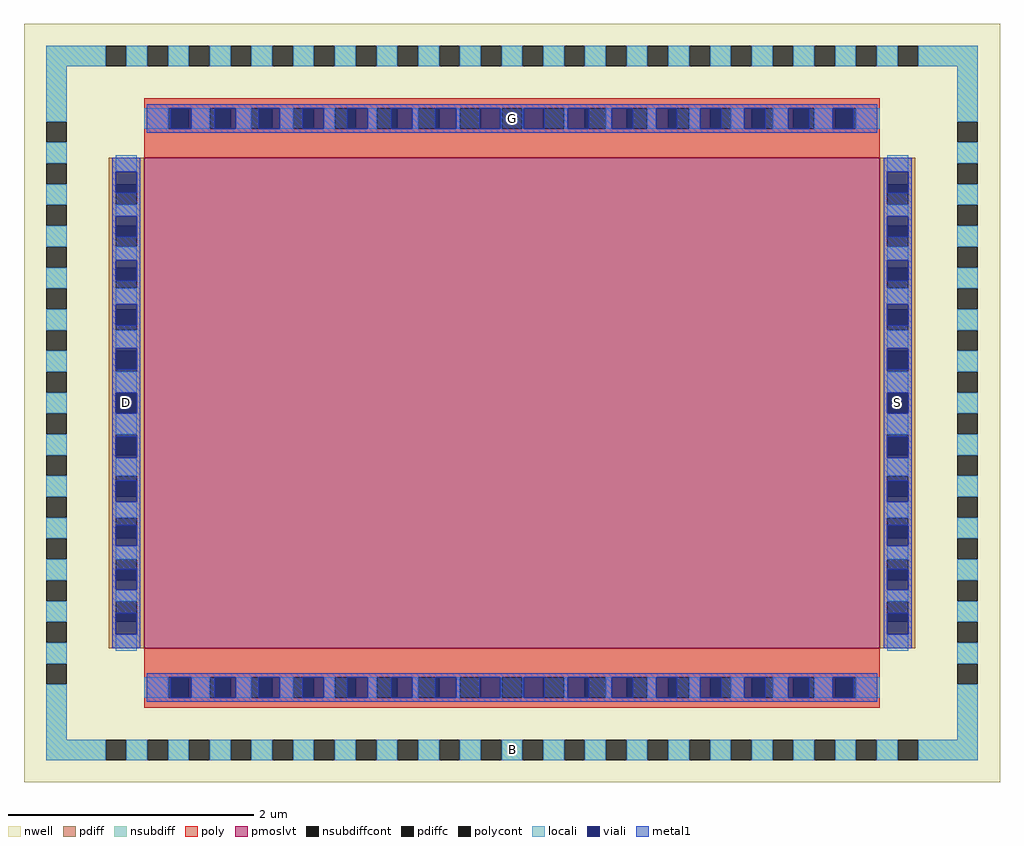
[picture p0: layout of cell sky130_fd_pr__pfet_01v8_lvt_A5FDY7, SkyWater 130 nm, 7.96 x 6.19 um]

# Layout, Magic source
magic
tech sky130A
magscale 1 2
<< nwell >>
rect -796 -619 796 619
<< pmoslvt >>
rect -600 -400 600 400
<< pdiff >>
rect -658 357 -600 400
rect -658 323 -646 357
rect -612 323 -600 357
rect -658 289 -600 323
rect -658 255 -646 289
rect -612 255 -600 289
rect -658 221 -600 255
rect -658 187 -646 221
rect -612 187 -600 221
rect -658 153 -600 187
rect -658 119 -646 153
rect -612 119 -600 153
rect -658 85 -600 119
rect -658 51 -646 85
rect -612 51 -600 85
rect -658 17 -600 51
rect -658 -17 -646 17
rect -612 -17 -600 17
rect -658 -51 -600 -17
rect -658 -85 -646 -51
rect -612 -85 -600 -51
rect -658 -119 -600 -85
rect -658 -153 -646 -119
rect -612 -153 -600 -119
rect -658 -187 -600 -153
rect -658 -221 -646 -187
rect -612 -221 -600 -187
rect -658 -255 -600 -221
rect -658 -289 -646 -255
rect -612 -289 -600 -255
rect -658 -323 -600 -289
rect -658 -357 -646 -323
rect -612 -357 -600 -323
rect -658 -400 -600 -357
rect 600 357 658 400
rect 600 323 612 357
rect 646 323 658 357
rect 600 289 658 323
rect 600 255 612 289
rect 646 255 658 289
rect 600 221 658 255
rect 600 187 612 221
rect 646 187 658 221
rect 600 153 658 187
rect 600 119 612 153
rect 646 119 658 153
rect 600 85 658 119
rect 600 51 612 85
rect 646 51 658 85
rect 600 17 658 51
rect 600 -17 612 17
rect 646 -17 658 17
rect 600 -51 658 -17
rect 600 -85 612 -51
rect 646 -85 658 -51
rect 600 -119 658 -85
rect 600 -153 612 -119
rect 646 -153 658 -119
rect 600 -187 658 -153
rect 600 -221 612 -187
rect 646 -221 658 -187
rect 600 -255 658 -221
rect 600 -289 612 -255
rect 646 -289 658 -255
rect 600 -323 658 -289
rect 600 -357 612 -323
rect 646 -357 658 -323
rect 600 -400 658 -357
<< pdiffc >>
rect -646 323 -612 357
rect -646 255 -612 289
rect -646 187 -612 221
rect -646 119 -612 153
rect -646 51 -612 85
rect -646 -17 -612 17
rect -646 -85 -612 -51
rect -646 -153 -612 -119
rect -646 -221 -612 -187
rect -646 -289 -612 -255
rect -646 -357 -612 -323
rect 612 323 646 357
rect 612 255 646 289
rect 612 187 646 221
rect 612 119 646 153
rect 612 51 646 85
rect 612 -17 646 17
rect 612 -85 646 -51
rect 612 -153 646 -119
rect 612 -221 646 -187
rect 612 -289 646 -255
rect 612 -357 646 -323
<< nsubdiff >>
rect -760 549 -663 583
rect -629 549 -595 583
rect -561 549 -527 583
rect -493 549 -459 583
rect -425 549 -391 583
rect -357 549 -323 583
rect -289 549 -255 583
rect -221 549 -187 583
rect -153 549 -119 583
rect -85 549 -51 583
rect -17 549 17 583
rect 51 549 85 583
rect 119 549 153 583
rect 187 549 221 583
rect 255 549 289 583
rect 323 549 357 583
rect 391 549 425 583
rect 459 549 493 583
rect 527 549 561 583
rect 595 549 629 583
rect 663 549 760 583
rect -760 459 -726 549
rect -760 391 -726 425
rect 726 459 760 549
rect -760 323 -726 357
rect -760 255 -726 289
rect -760 187 -726 221
rect -760 119 -726 153
rect -760 51 -726 85
rect -760 -17 -726 17
rect -760 -85 -726 -51
rect -760 -153 -726 -119
rect -760 -221 -726 -187
rect -760 -289 -726 -255
rect -760 -357 -726 -323
rect -760 -425 -726 -391
rect 726 391 760 425
rect 726 323 760 357
rect 726 255 760 289
rect 726 187 760 221
rect 726 119 760 153
rect 726 51 760 85
rect 726 -17 760 17
rect 726 -85 760 -51
rect 726 -153 760 -119
rect 726 -221 760 -187
rect 726 -289 760 -255
rect 726 -357 760 -323
rect -760 -549 -726 -459
rect 726 -425 760 -391
rect 726 -549 760 -459
rect -760 -583 -663 -549
rect -629 -583 -595 -549
rect -561 -583 -527 -549
rect -493 -583 -459 -549
rect -425 -583 -391 -549
rect -357 -583 -323 -549
rect -289 -583 -255 -549
rect -221 -583 -187 -549
rect -153 -583 -119 -549
rect -85 -583 -51 -549
rect -17 -583 17 -549
rect 51 -583 85 -549
rect 119 -583 153 -549
rect 187 -583 221 -549
rect 255 -583 289 -549
rect 323 -583 357 -549
rect 391 -583 425 -549
rect 459 -583 493 -549
rect 527 -583 561 -549
rect 595 -583 629 -549
rect 663 -583 760 -549
<< nsubdiffcont >>
rect -663 549 -629 583
rect -595 549 -561 583
rect -527 549 -493 583
rect -459 549 -425 583
rect -391 549 -357 583
rect -323 549 -289 583
rect -255 549 -221 583
rect -187 549 -153 583
rect -119 549 -85 583
rect -51 549 -17 583
rect 17 549 51 583
rect 85 549 119 583
rect 153 549 187 583
rect 221 549 255 583
rect 289 549 323 583
rect 357 549 391 583
rect 425 549 459 583
rect 493 549 527 583
rect 561 549 595 583
rect 629 549 663 583
rect -760 425 -726 459
rect 726 425 760 459
rect -760 357 -726 391
rect -760 289 -726 323
rect -760 221 -726 255
rect -760 153 -726 187
rect -760 85 -726 119
rect -760 17 -726 51
rect -760 -51 -726 -17
rect -760 -119 -726 -85
rect -760 -187 -726 -153
rect -760 -255 -726 -221
rect -760 -323 -726 -289
rect -760 -391 -726 -357
rect 726 357 760 391
rect 726 289 760 323
rect 726 221 760 255
rect 726 153 760 187
rect 726 85 760 119
rect 726 17 760 51
rect 726 -51 760 -17
rect 726 -119 760 -85
rect 726 -187 760 -153
rect 726 -255 760 -221
rect 726 -323 760 -289
rect 726 -391 760 -357
rect -760 -459 -726 -425
rect 726 -459 760 -425
rect -663 -583 -629 -549
rect -595 -583 -561 -549
rect -527 -583 -493 -549
rect -459 -583 -425 -549
rect -391 -583 -357 -549
rect -323 -583 -289 -549
rect -255 -583 -221 -549
rect -187 -583 -153 -549
rect -119 -583 -85 -549
rect -51 -583 -17 -549
rect 17 -583 51 -549
rect 85 -583 119 -549
rect 153 -583 187 -549
rect 221 -583 255 -549
rect 289 -583 323 -549
rect 357 -583 391 -549
rect 425 -583 459 -549
rect 493 -583 527 -549
rect 561 -583 595 -549
rect 629 -583 663 -549
<< poly >>
rect -600 481 600 497
rect -600 447 -561 481
rect -527 447 -493 481
rect -459 447 -425 481
rect -391 447 -357 481
rect -323 447 -289 481
rect -255 447 -221 481
rect -187 447 -153 481
rect -119 447 -85 481
rect -51 447 -17 481
rect 17 447 51 481
rect 85 447 119 481
rect 153 447 187 481
rect 221 447 255 481
rect 289 447 323 481
rect 357 447 391 481
rect 425 447 459 481
rect 493 447 527 481
rect 561 447 600 481
rect -600 400 600 447
rect -600 -447 600 -400
rect -600 -481 -561 -447
rect -527 -481 -493 -447
rect -459 -481 -425 -447
rect -391 -481 -357 -447
rect -323 -481 -289 -447
rect -255 -481 -221 -447
rect -187 -481 -153 -447
rect -119 -481 -85 -447
rect -51 -481 -17 -447
rect 17 -481 51 -447
rect 85 -481 119 -447
rect 153 -481 187 -447
rect 221 -481 255 -447
rect 289 -481 323 -447
rect 357 -481 391 -447
rect 425 -481 459 -447
rect 493 -481 527 -447
rect 561 -481 600 -447
rect -600 -497 600 -481
<< polycont >>
rect -561 447 -527 481
rect -493 447 -459 481
rect -425 447 -391 481
rect -357 447 -323 481
rect -289 447 -255 481
rect -221 447 -187 481
rect -153 447 -119 481
rect -85 447 -51 481
rect -17 447 17 481
rect 51 447 85 481
rect 119 447 153 481
rect 187 447 221 481
rect 255 447 289 481
rect 323 447 357 481
rect 391 447 425 481
rect 459 447 493 481
rect 527 447 561 481
rect -561 -481 -527 -447
rect -493 -481 -459 -447
rect -425 -481 -391 -447
rect -357 -481 -323 -447
rect -289 -481 -255 -447
rect -221 -481 -187 -447
rect -153 -481 -119 -447
rect -85 -481 -51 -447
rect -17 -481 17 -447
rect 51 -481 85 -447
rect 119 -481 153 -447
rect 187 -481 221 -447
rect 255 -481 289 -447
rect 323 -481 357 -447
rect 391 -481 425 -447
rect 459 -481 493 -447
rect 527 -481 561 -447
<< locali >>
rect -760 549 -663 583
rect -629 549 -595 583
rect -561 549 -527 583
rect -493 549 -459 583
rect -425 549 -391 583
rect -357 549 -323 583
rect -289 549 -255 583
rect -221 549 -187 583
rect -153 549 -119 583
rect -85 549 -51 583
rect -17 549 17 583
rect 51 549 85 583
rect 119 549 153 583
rect 187 549 221 583
rect 255 549 289 583
rect 323 549 357 583
rect 391 549 425 583
rect 459 549 493 583
rect 527 549 561 583
rect 595 549 629 583
rect 663 549 760 583
rect -760 459 -726 549
rect -600 447 -561 481
rect -523 447 -493 481
rect -451 447 -425 481
rect -379 447 -357 481
rect -307 447 -289 481
rect -235 447 -221 481
rect -163 447 -153 481
rect -91 447 -85 481
rect -19 447 -17 481
rect 17 447 19 481
rect 85 447 91 481
rect 153 447 163 481
rect 221 447 235 481
rect 289 447 307 481
rect 357 447 379 481
rect 425 447 451 481
rect 493 447 523 481
rect 561 447 600 481
rect 726 459 760 549
rect -760 391 -726 425
rect -760 323 -726 357
rect -760 255 -726 289
rect -760 187 -726 221
rect -760 119 -726 153
rect -760 51 -726 85
rect -760 -17 -726 17
rect -760 -85 -726 -51
rect -760 -153 -726 -119
rect -760 -221 -726 -187
rect -760 -289 -726 -255
rect -760 -357 -726 -323
rect -760 -425 -726 -391
rect -646 377 -612 404
rect -646 305 -612 323
rect -646 233 -612 255
rect -646 161 -612 187
rect -646 89 -612 119
rect -646 17 -612 51
rect -646 -51 -612 -17
rect -646 -119 -612 -89
rect -646 -187 -612 -161
rect -646 -255 -612 -233
rect -646 -323 -612 -305
rect -646 -404 -612 -377
rect 612 377 646 404
rect 612 305 646 323
rect 612 233 646 255
rect 612 161 646 187
rect 612 89 646 119
rect 612 17 646 51
rect 612 -51 646 -17
rect 612 -119 646 -89
rect 612 -187 646 -161
rect 612 -255 646 -233
rect 612 -323 646 -305
rect 612 -404 646 -377
rect 726 391 760 425
rect 726 323 760 357
rect 726 255 760 289
rect 726 187 760 221
rect 726 119 760 153
rect 726 51 760 85
rect 726 -17 760 17
rect 726 -85 760 -51
rect 726 -153 760 -119
rect 726 -221 760 -187
rect 726 -289 760 -255
rect 726 -357 760 -323
rect 726 -425 760 -391
rect -760 -549 -726 -459
rect -600 -481 -561 -447
rect -523 -481 -493 -447
rect -451 -481 -425 -447
rect -379 -481 -357 -447
rect -307 -481 -289 -447
rect -235 -481 -221 -447
rect -163 -481 -153 -447
rect -91 -481 -85 -447
rect -19 -481 -17 -447
rect 17 -481 19 -447
rect 85 -481 91 -447
rect 153 -481 163 -447
rect 221 -481 235 -447
rect 289 -481 307 -447
rect 357 -481 379 -447
rect 425 -481 451 -447
rect 493 -481 523 -447
rect 561 -481 600 -447
rect 726 -549 760 -459
rect -760 -583 -663 -549
rect -629 -583 -595 -549
rect -561 -583 -527 -549
rect -493 -583 -459 -549
rect -425 -583 -391 -549
rect -357 -583 -323 -549
rect -289 -583 -255 -549
rect -221 -583 -187 -549
rect -153 -583 -119 -549
rect -85 -583 -51 -549
rect -17 -583 17 -549
rect 51 -583 85 -549
rect 119 -583 153 -549
rect 187 -583 221 -549
rect 255 -583 289 -549
rect 323 -583 357 -549
rect 391 -583 425 -549
rect 459 -583 493 -549
rect 527 -583 561 -549
rect 595 -583 629 -549
rect 663 -583 760 -549
<< viali >>
rect -557 447 -527 481
rect -527 447 -523 481
rect -485 447 -459 481
rect -459 447 -451 481
rect -413 447 -391 481
rect -391 447 -379 481
rect -341 447 -323 481
rect -323 447 -307 481
rect -269 447 -255 481
rect -255 447 -235 481
rect -197 447 -187 481
rect -187 447 -163 481
rect -125 447 -119 481
rect -119 447 -91 481
rect -53 447 -51 481
rect -51 447 -19 481
rect 19 447 51 481
rect 51 447 53 481
rect 91 447 119 481
rect 119 447 125 481
rect 163 447 187 481
rect 187 447 197 481
rect 235 447 255 481
rect 255 447 269 481
rect 307 447 323 481
rect 323 447 341 481
rect 379 447 391 481
rect 391 447 413 481
rect 451 447 459 481
rect 459 447 485 481
rect 523 447 527 481
rect 527 447 557 481
rect -646 357 -612 377
rect -646 343 -612 357
rect -646 289 -612 305
rect -646 271 -612 289
rect -646 221 -612 233
rect -646 199 -612 221
rect -646 153 -612 161
rect -646 127 -612 153
rect -646 85 -612 89
rect -646 55 -612 85
rect -646 -17 -612 17
rect -646 -85 -612 -55
rect -646 -89 -612 -85
rect -646 -153 -612 -127
rect -646 -161 -612 -153
rect -646 -221 -612 -199
rect -646 -233 -612 -221
rect -646 -289 -612 -271
rect -646 -305 -612 -289
rect -646 -357 -612 -343
rect -646 -377 -612 -357
rect 612 357 646 377
rect 612 343 646 357
rect 612 289 646 305
rect 612 271 646 289
rect 612 221 646 233
rect 612 199 646 221
rect 612 153 646 161
rect 612 127 646 153
rect 612 85 646 89
rect 612 55 646 85
rect 612 -17 646 17
rect 612 -85 646 -55
rect 612 -89 646 -85
rect 612 -153 646 -127
rect 612 -161 646 -153
rect 612 -221 646 -199
rect 612 -233 646 -221
rect 612 -289 646 -271
rect 612 -305 646 -289
rect 612 -357 646 -343
rect 612 -377 646 -357
rect -557 -481 -527 -447
rect -527 -481 -523 -447
rect -485 -481 -459 -447
rect -459 -481 -451 -447
rect -413 -481 -391 -447
rect -391 -481 -379 -447
rect -341 -481 -323 -447
rect -323 -481 -307 -447
rect -269 -481 -255 -447
rect -255 -481 -235 -447
rect -197 -481 -187 -447
rect -187 -481 -163 -447
rect -125 -481 -119 -447
rect -119 -481 -91 -447
rect -53 -481 -51 -447
rect -51 -481 -19 -447
rect 19 -481 51 -447
rect 51 -481 53 -447
rect 91 -481 119 -447
rect 119 -481 125 -447
rect 163 -481 187 -447
rect 187 -481 197 -447
rect 235 -481 255 -447
rect 255 -481 269 -447
rect 307 -481 323 -447
rect 323 -481 341 -447
rect 379 -481 391 -447
rect 391 -481 413 -447
rect 451 -481 459 -447
rect 459 -481 485 -447
rect 523 -481 527 -447
rect 527 -481 557 -447
<< metal1 >>
rect -596 481 596 487
rect -596 447 -557 481
rect -523 447 -485 481
rect -451 447 -413 481
rect -379 447 -341 481
rect -307 447 -269 481
rect -235 447 -197 481
rect -163 447 -125 481
rect -91 447 -53 481
rect -19 447 19 481
rect 53 447 91 481
rect 125 447 163 481
rect 197 447 235 481
rect 269 447 307 481
rect 341 447 379 481
rect 413 447 451 481
rect 485 447 523 481
rect 557 447 596 481
rect -596 441 596 447
rect -652 377 -606 400
rect -652 343 -646 377
rect -612 343 -606 377
rect -652 305 -606 343
rect -652 271 -646 305
rect -612 271 -606 305
rect -652 233 -606 271
rect -652 199 -646 233
rect -612 199 -606 233
rect -652 161 -606 199
rect -652 127 -646 161
rect -612 127 -606 161
rect -652 89 -606 127
rect -652 55 -646 89
rect -612 55 -606 89
rect -652 17 -606 55
rect -652 -17 -646 17
rect -612 -17 -606 17
rect -652 -55 -606 -17
rect -652 -89 -646 -55
rect -612 -89 -606 -55
rect -652 -127 -606 -89
rect -652 -161 -646 -127
rect -612 -161 -606 -127
rect -652 -199 -606 -161
rect -652 -233 -646 -199
rect -612 -233 -606 -199
rect -652 -271 -606 -233
rect -652 -305 -646 -271
rect -612 -305 -606 -271
rect -652 -343 -606 -305
rect -652 -377 -646 -343
rect -612 -377 -606 -343
rect -652 -400 -606 -377
rect 606 377 652 400
rect 606 343 612 377
rect 646 343 652 377
rect 606 305 652 343
rect 606 271 612 305
rect 646 271 652 305
rect 606 233 652 271
rect 606 199 612 233
rect 646 199 652 233
rect 606 161 652 199
rect 606 127 612 161
rect 646 127 652 161
rect 606 89 652 127
rect 606 55 612 89
rect 646 55 652 89
rect 606 17 652 55
rect 606 -17 612 17
rect 646 -17 652 17
rect 606 -55 652 -17
rect 606 -89 612 -55
rect 646 -89 652 -55
rect 606 -127 652 -89
rect 606 -161 612 -127
rect 646 -161 652 -127
rect 606 -199 652 -161
rect 606 -233 612 -199
rect 646 -233 652 -199
rect 606 -271 652 -233
rect 606 -305 612 -271
rect 646 -305 652 -271
rect 606 -343 652 -305
rect 606 -377 612 -343
rect 646 -377 652 -343
rect 606 -400 652 -377
rect -596 -447 596 -441
rect -596 -481 -557 -447
rect -523 -481 -485 -447
rect -451 -481 -413 -447
rect -379 -481 -341 -447
rect -307 -481 -269 -447
rect -235 -481 -197 -447
rect -163 -481 -125 -447
rect -91 -481 -53 -447
rect -19 -481 19 -447
rect 53 -481 91 -447
rect 125 -481 163 -447
rect 197 -481 235 -447
rect 269 -481 307 -447
rect 341 -481 379 -447
rect 413 -481 451 -447
rect 485 -481 523 -447
rect 557 -481 596 -447
rect -596 -487 596 -481
<< labels >>
rlabel locali s 0 -566 0 -566 4 B
rlabel locali s -629 0 -629 0 4 D
rlabel locali s 629 0 629 0 4 S
rlabel locali s 0 464 0 464 4 G
<< properties >>
string FIXED_BBOX -743 -566 743 566
<< end >>
